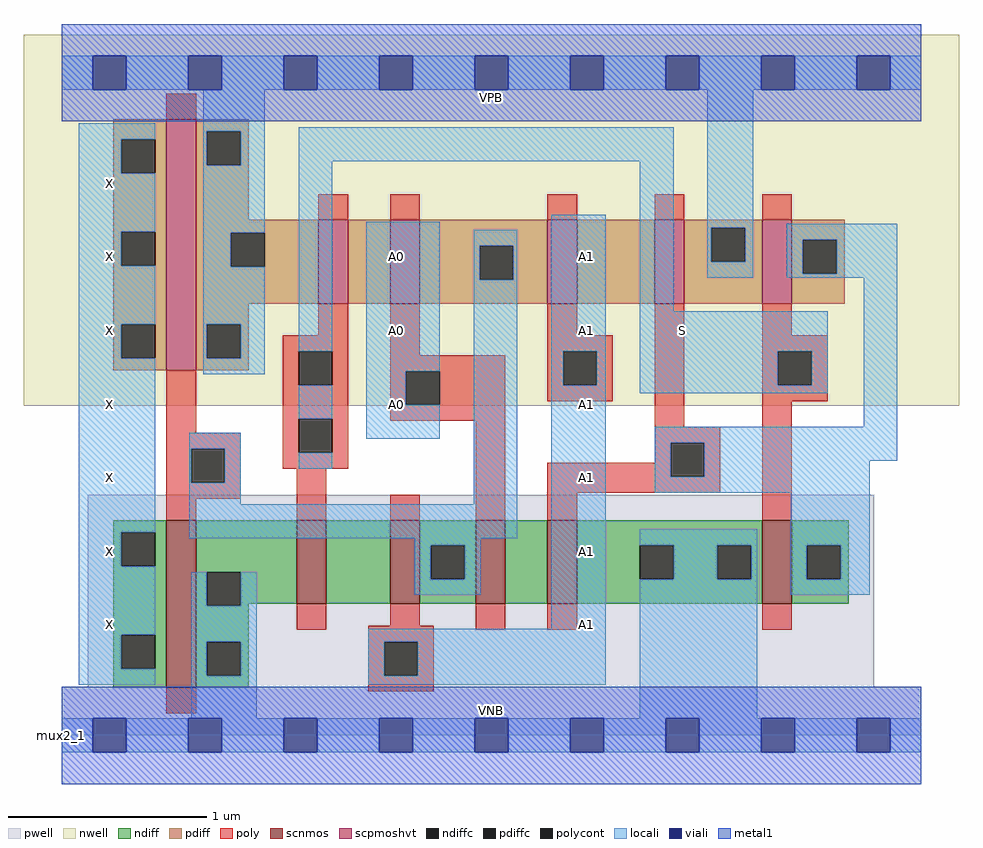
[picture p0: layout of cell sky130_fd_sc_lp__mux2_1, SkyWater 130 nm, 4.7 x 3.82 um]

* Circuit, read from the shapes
.subckt sky130_fd_sc_lp__mux2_1 A0 A1 S VGND VNB VPB VPWR X
XM1 VGND n1 X VNB sky130_fd_pr__nfet_01v8 w=0.84 l=0.15
XM2 n2 S VGND VNB sky130_fd_pr__nfet_01v8 w=0.42 l=0.15
XM3 n1 A1 n2 VNB sky130_fd_pr__nfet_01v8 w=0.42 l=0.15
XM4 n3 A0 n1 VNB sky130_fd_pr__nfet_01v8 w=0.42 l=0.15
XM5 VGND n4 n3 VNB sky130_fd_pr__nfet_01v8 w=0.42 l=0.15
XM6 n4 S VGND VNB sky130_fd_pr__nfet_01v8 w=0.42 l=0.15
XM7 VPWR n1 X VPB sky130_fd_pr__pfet_01v8_hvt w=1.26 l=0.15
XM8 n5 S VPWR VPB sky130_fd_pr__pfet_01v8_hvt w=0.42 l=0.15
XM9 n1 A0 n5 VPB sky130_fd_pr__pfet_01v8_hvt w=0.42 l=0.15
XM10 n6 A1 n1 VPB sky130_fd_pr__pfet_01v8_hvt w=0.42 l=0.15
XM11 VPWR n4 n6 VPB sky130_fd_pr__pfet_01v8_hvt w=0.42 l=0.15
XM12 n4 S VPWR VPB sky130_fd_pr__pfet_01v8_hvt w=0.42 l=0.15
.ends

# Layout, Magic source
magic
tech sky130A
magscale 1 2
<< nwell >>
rect -38 331 902 704
<< pwell >>
rect 26 49 817 242
rect 0 0 864 49
<< scnmos >>
rect 105 48 135 216
rect 236 132 266 216
rect 330 132 360 216
rect 416 132 446 216
rect 488 132 518 216
rect 704 132 734 216
<< scpmoshvt >>
rect 105 367 135 619
rect 258 434 288 518
rect 330 434 360 518
rect 488 434 518 518
rect 596 434 626 518
rect 704 434 734 518
<< ndiff >>
rect 52 204 105 216
rect 52 170 60 204
rect 94 170 105 204
rect 52 101 105 170
rect 52 67 60 101
rect 94 67 105 101
rect 52 48 105 67
rect 135 164 236 216
rect 135 130 146 164
rect 180 132 236 164
rect 266 132 330 216
rect 360 191 416 216
rect 360 157 371 191
rect 405 157 416 191
rect 360 132 416 157
rect 446 132 488 216
rect 518 191 704 216
rect 518 157 581 191
rect 615 157 659 191
rect 693 157 704 191
rect 518 132 704 157
rect 734 191 791 216
rect 734 157 749 191
rect 783 157 791 191
rect 734 132 791 157
rect 180 130 188 132
rect 135 94 188 130
rect 135 60 146 94
rect 180 60 188 94
rect 135 48 188 60
<< pdiff >>
rect 52 599 105 619
rect 52 565 60 599
rect 94 565 105 599
rect 52 506 105 565
rect 52 472 60 506
rect 94 472 105 506
rect 52 413 105 472
rect 52 379 60 413
rect 94 379 105 413
rect 52 367 105 379
rect 135 607 188 619
rect 135 573 146 607
rect 180 573 188 607
rect 135 518 188 573
rect 135 505 258 518
rect 135 471 170 505
rect 204 471 258 505
rect 135 434 258 471
rect 288 434 330 518
rect 360 492 488 518
rect 360 458 420 492
rect 454 458 488 492
rect 360 434 488 458
rect 518 434 596 518
rect 626 510 704 518
rect 626 476 653 510
rect 687 476 704 510
rect 626 434 704 476
rect 734 498 787 518
rect 734 464 745 498
rect 779 464 787 498
rect 734 434 787 464
rect 135 413 188 434
rect 135 379 146 413
rect 180 379 188 413
rect 135 367 188 379
<< ndiffc >>
rect 60 170 94 204
rect 60 67 94 101
rect 146 130 180 164
rect 371 157 405 191
rect 581 157 615 191
rect 659 157 693 191
rect 749 157 783 191
rect 146 60 180 94
<< pdiffc >>
rect 60 565 94 599
rect 60 472 94 506
rect 60 379 94 413
rect 146 573 180 607
rect 170 471 204 505
rect 420 458 454 492
rect 653 476 687 510
rect 745 464 779 498
rect 146 379 180 413
<< poly >>
rect 105 619 135 645
rect 258 518 288 544
rect 330 518 360 544
rect 488 518 518 544
rect 596 518 626 544
rect 704 518 734 544
rect 258 402 288 434
rect 222 386 288 402
rect 105 304 135 367
rect 222 352 238 386
rect 272 352 288 386
rect 222 318 288 352
rect 105 288 180 304
rect 105 254 130 288
rect 164 254 180 288
rect 222 284 238 318
rect 272 284 288 318
rect 330 382 360 434
rect 488 402 518 434
rect 488 386 554 402
rect 330 366 446 382
rect 330 332 346 366
rect 380 332 446 366
rect 488 352 504 386
rect 538 352 554 386
rect 488 336 554 352
rect 330 316 446 332
rect 222 268 288 284
rect 105 238 180 254
rect 105 216 135 238
rect 236 216 266 268
rect 330 216 360 242
rect 416 216 446 316
rect 596 310 626 434
rect 704 402 734 434
rect 704 386 770 402
rect 704 352 720 386
rect 754 352 770 386
rect 704 336 770 352
rect 596 294 662 310
rect 596 274 612 294
rect 488 260 612 274
rect 646 260 662 294
rect 488 244 662 260
rect 488 216 518 244
rect 704 216 734 336
rect 236 106 266 132
rect 330 110 360 132
rect 308 94 374 110
rect 416 106 446 132
rect 488 106 518 132
rect 704 106 734 132
rect 308 60 324 94
rect 358 60 374 94
rect 105 22 135 48
rect 308 44 374 60
<< polycont >>
rect 238 352 272 386
rect 130 254 164 288
rect 238 284 272 318
rect 346 332 380 366
rect 504 352 538 386
rect 720 352 754 386
rect 612 260 646 294
rect 324 60 358 94
<< locali >>
rect 0 649 31 683
rect 65 649 127 683
rect 161 649 223 683
rect 257 649 319 683
rect 353 649 415 683
rect 449 649 511 683
rect 545 649 607 683
rect 641 649 703 683
rect 737 649 799 683
rect 833 649 864 683
rect 17 599 94 615
rect 17 565 60 599
rect 17 506 94 565
rect 17 472 60 506
rect 17 413 94 472
rect 17 379 60 413
rect 17 204 94 379
rect 142 607 204 649
rect 142 573 146 607
rect 180 573 204 607
rect 142 505 204 573
rect 142 471 170 505
rect 142 413 204 471
rect 142 379 146 413
rect 180 379 204 413
rect 142 363 204 379
rect 238 577 615 611
rect 238 386 272 577
rect 238 318 272 352
rect 17 170 60 204
rect 128 288 180 304
rect 128 254 130 288
rect 164 254 180 288
rect 306 366 380 516
rect 306 332 346 366
rect 306 298 380 332
rect 414 492 458 508
rect 414 458 420 492
rect 454 458 458 492
rect 238 268 272 284
rect 128 232 180 254
rect 414 232 458 458
rect 128 198 458 232
rect 492 386 547 523
rect 492 352 504 386
rect 538 352 547 386
rect 17 101 94 170
rect 355 191 421 198
rect 17 67 60 101
rect 17 51 94 67
rect 130 130 146 164
rect 180 130 196 164
rect 355 157 371 191
rect 405 157 421 191
rect 355 141 421 157
rect 130 94 196 130
rect 492 107 547 352
rect 581 426 615 577
rect 649 510 695 649
rect 649 476 653 510
rect 687 476 695 510
rect 649 460 695 476
rect 729 498 840 514
rect 729 464 745 498
rect 779 464 840 498
rect 729 460 840 464
rect 581 386 770 426
rect 581 352 720 386
rect 754 352 770 386
rect 581 344 770 352
rect 806 310 840 460
rect 596 294 840 310
rect 596 260 612 294
rect 646 276 840 294
rect 646 260 812 276
rect 596 244 812 260
rect 130 60 146 94
rect 180 60 196 94
rect 130 17 196 60
rect 308 94 547 107
rect 308 60 324 94
rect 358 60 547 94
rect 308 51 547 60
rect 581 191 699 207
rect 615 157 659 191
rect 693 157 699 191
rect 581 17 699 157
rect 733 191 812 244
rect 733 157 749 191
rect 783 157 812 191
rect 733 141 812 157
rect 0 -17 31 17
rect 65 -17 127 17
rect 161 -17 223 17
rect 257 -17 319 17
rect 353 -17 415 17
rect 449 -17 511 17
rect 545 -17 607 17
rect 641 -17 703 17
rect 737 -17 799 17
rect 833 -17 864 17
<< viali >>
rect 31 649 65 683
rect 127 649 161 683
rect 223 649 257 683
rect 319 649 353 683
rect 415 649 449 683
rect 511 649 545 683
rect 607 649 641 683
rect 703 649 737 683
rect 799 649 833 683
rect 31 -17 65 17
rect 127 -17 161 17
rect 223 -17 257 17
rect 319 -17 353 17
rect 415 -17 449 17
rect 511 -17 545 17
rect 607 -17 641 17
rect 703 -17 737 17
rect 799 -17 833 17
<< metal1 >>
rect 0 683 864 715
rect 0 649 31 683
rect 65 649 127 683
rect 161 649 223 683
rect 257 649 319 683
rect 353 649 415 683
rect 449 649 511 683
rect 545 649 607 683
rect 641 649 703 683
rect 737 649 799 683
rect 833 649 864 683
rect 0 617 864 649
rect 0 17 864 49
rect 0 -17 31 17
rect 65 -17 127 17
rect 161 -17 223 17
rect 257 -17 319 17
rect 353 -17 415 17
rect 449 -17 511 17
rect 545 -17 607 17
rect 641 -17 703 17
rect 737 -17 799 17
rect 833 -17 864 17
rect 0 -49 864 -17
<< labels >>
flabel pwell s 0 0 864 49 0 FreeSans 200 0 0 0 VNB
port 5 nsew ground bidirectional
flabel nwell s 0 617 864 666 0 FreeSans 200 0 0 0 VPB
port 6 nsew power bidirectional
rlabel comment s 0 0 0 0 4 mux2_1
flabel metal1 s 0 617 864 666 0 FreeSans 340 0 0 0 VPWR
port 7 nsew power bidirectional
flabel metal1 s 0 0 864 49 0 FreeSans 340 0 0 0 VGND
port 4 nsew ground bidirectional
flabel locali s 607 390 641 424 0 FreeSans 340 0 0 0 S
port 3 nsew signal input
flabel locali s 319 316 353 350 0 FreeSans 340 0 0 0 A0
port 1 nsew signal input
flabel locali s 319 390 353 424 0 FreeSans 340 0 0 0 A0
port 1 nsew signal input
flabel locali s 319 464 353 498 0 FreeSans 340 0 0 0 A0
port 1 nsew signal input
flabel locali s 31 94 65 128 0 FreeSans 340 0 0 0 X
port 8 nsew signal output
flabel locali s 31 168 65 202 0 FreeSans 340 0 0 0 X
port 8 nsew signal output
flabel locali s 31 242 65 276 0 FreeSans 340 0 0 0 X
port 8 nsew signal output
flabel locali s 31 316 65 350 0 FreeSans 340 0 0 0 X
port 8 nsew signal output
flabel locali s 31 390 65 424 0 FreeSans 340 0 0 0 X
port 8 nsew signal output
flabel locali s 31 464 65 498 0 FreeSans 340 0 0 0 X
port 8 nsew signal output
flabel locali s 31 538 65 572 0 FreeSans 340 0 0 0 X
port 8 nsew signal output
flabel locali s 511 94 545 128 0 FreeSans 340 0 0 0 A1
port 2 nsew signal input
flabel locali s 511 168 545 202 0 FreeSans 340 0 0 0 A1
port 2 nsew signal input
flabel locali s 511 242 545 276 0 FreeSans 340 0 0 0 A1
port 2 nsew signal input
flabel locali s 511 316 545 350 0 FreeSans 340 0 0 0 A1
port 2 nsew signal input
flabel locali s 511 390 545 424 0 FreeSans 340 0 0 0 A1
port 2 nsew signal input
flabel locali s 511 464 545 498 0 FreeSans 340 0 0 0 A1
port 2 nsew signal input
<< properties >>
string LEFsite unit
string LEFclass CORE
string FIXED_BBOX 0 0 864 666
string GDS_FILE $PDKPATH/libs.ref/sky130_fd_sc_lp/gds/sky130_fd_sc_lp.gds
string LEFsymmetry X Y R90
string GDS_END 1708760
string GDS_START 1700622
<< end >>
